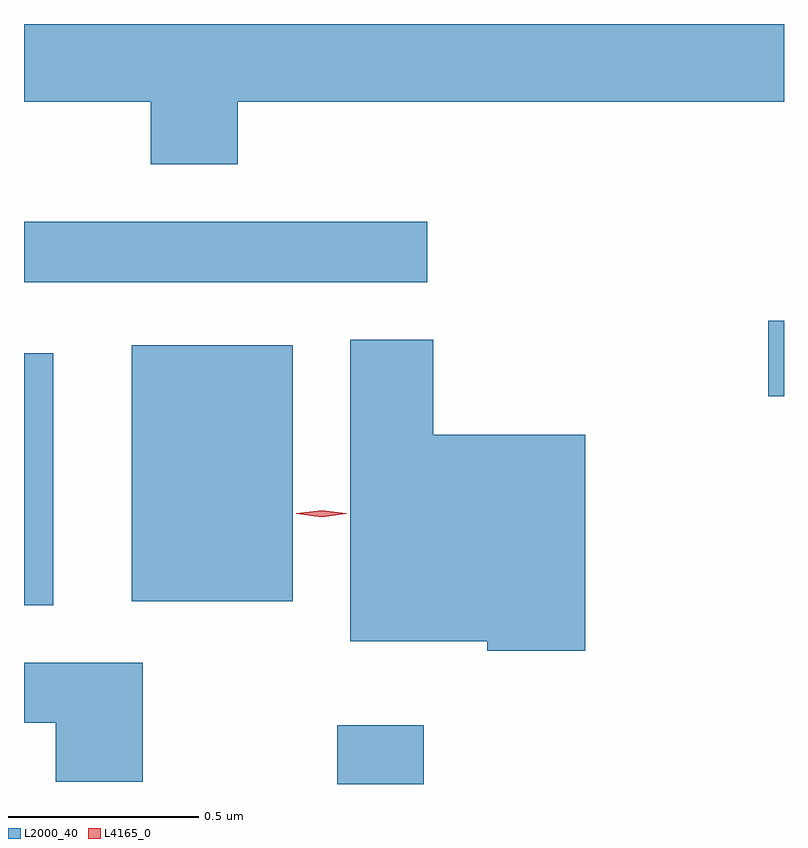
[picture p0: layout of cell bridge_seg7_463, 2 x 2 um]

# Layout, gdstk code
import gdstk
lib = gdstk.Library(unit=1e-6, precision=1e-09)
def R(c, l, rs):  # rectangles x0, y0, x1, y1
    for r in rs: c.add(gdstk.rectangle(r[:2], r[2:], *l))
def P(c, l, *ps):  # polygons
    for p in ps: c.add(gdstk.Polygon(p, *l))
L2000_40 = (2000, 40)
L4165_0 = (4165, 0)

bridge_seg7_463 = lib.new_cell('bridge_seg7_463')
R(bridge_seg7_463, L2000_40, [(1210.541,1705.86,1210.769,1706.014), (1209.717,1706.331,1209.794,1706.994), (1210.001,1706.341,1210.424,1707.014), (1211.676,1706.881,1211.717,1707.079), (1209.717,1707.181,1210.778,1707.339)])
P(bridge_seg7_463, L2000_40, [(1210.279,1707.656),(1211.717,1707.656),(1211.717,1707.86),(1209.717,1707.86),(1209.717,1707.656),(1210.051,1707.656),(1210.051,1707.491),(1210.279,1707.491)],
  [(1211.194,1706.779),(1210.794,1706.779),(1210.794,1707.029),(1210.576,1707.029),(1210.576,1706.236),(1210.936,1706.236),(1210.936,1706.211),(1211.194,1706.211)],
  [(1210.029,1706.179),(1209.717,1706.179),(1209.717,1706.021),(1209.801,1706.021),(1209.801,1705.866),(1210.029,1705.866)])
P(bridge_seg7_463, L4165_0, [(1210.5,1706.562),(1210.434,1706.571),(1210.434,1706.572),(1210.434,1706.572),(1210.5,1706.581),(1210.565,1706.572),(1210.566,1706.571),(1210.565,1706.571)])

lib.write_gds('bridge_seg7_463.gds')
